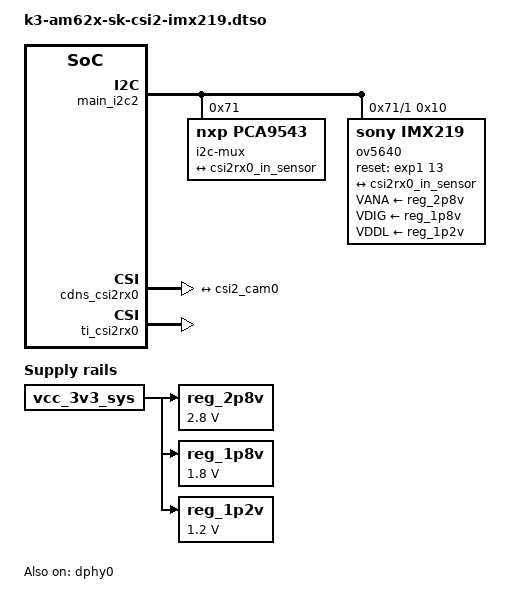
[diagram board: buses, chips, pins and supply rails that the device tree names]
// SPDX-License-Identifier: GPL-2.0-only OR MIT
/*
 * IMX219 (RPi v2) Camera Module
 * Copyright (C) 2023-2024 Texas Instruments Incorporated - https://www.ti.com/
 */

/dts-v1/;
/plugin/;

#include <dt-bindings/gpio/gpio.h>

&{/} {
	clk_imx219_fixed: imx219-xclk {
		compatible = "fixed-clock";
		#clock-cells = <0>;
		clock-frequency = <24000000>;
	};

	reg_2p8v: regulator-2p8v {
		compatible = "regulator-fixed";
		regulator-name = "2P8V";
		regulator-min-microvolt = <2800000>;
		regulator-max-microvolt = <2800000>;
		vin-supply = <&vcc_3v3_sys>;
		regulator-always-on;
	};

	reg_1p8v: regulator-1p8v {
		compatible = "regulator-fixed";
		regulator-name = "1P8V";
		regulator-min-microvolt = <1800000>;
		regulator-max-microvolt = <1800000>;
		vin-supply = <&vcc_3v3_sys>;
		regulator-always-on;
	};

	reg_1p2v: regulator-1p2v {
		compatible = "regulator-fixed";
		regulator-name = "1P2V";
		regulator-min-microvolt = <1200000>;
		regulator-max-microvolt = <1200000>;
		vin-supply = <&vcc_3v3_sys>;
		regulator-always-on;
	};
};

&main_i2c2 {
	#address-cells = <1>;
	#size-cells = <0>;
	status = "okay";

	i2c-mux@71 {
		compatible = "nxp,pca9543";
		#address-cells = <1>;
		#size-cells = <0>;
		reg = <0x71>;

		/* CAM port */
		i2c@1 {
			#address-cells = <1>;
			#size-cells = <0>;
			reg = <1>;

			ov5640: camera@10 {
				compatible = "sony,imx219";
				reg = <0x10>;

				clocks = <&clk_imx219_fixed>;

				VANA-supply = <&reg_2p8v>;
				VDIG-supply = <&reg_1p8v>;
				VDDL-supply = <&reg_1p2v>;

				reset-gpios = <&exp1 13 GPIO_ACTIVE_HIGH>;

				port {
					csi2_cam0: endpoint {
						remote-endpoint = <&csi2rx0_in_sensor>;
						link-frequencies = /bits/ 64 <456000000>;
						clock-lanes = <0>;
						data-lanes = <1 2>;
					};
				};
			};
		};
	};
};

&cdns_csi2rx0 {
	ports {
		#address-cells = <1>;
		#size-cells = <0>;

		csi0_port0: port@0 {
			reg = <0>;
			status = "okay";

			csi2rx0_in_sensor: endpoint {
				remote-endpoint = <&csi2_cam0>;
				bus-type = <4>; /* CSI2 DPHY. */
				clock-lanes = <0>;
				data-lanes = <1 2>;
			};
		};
	};
};

&ti_csi2rx0 {
	status = "okay";
};

&dphy0 {
	status = "okay";
};
